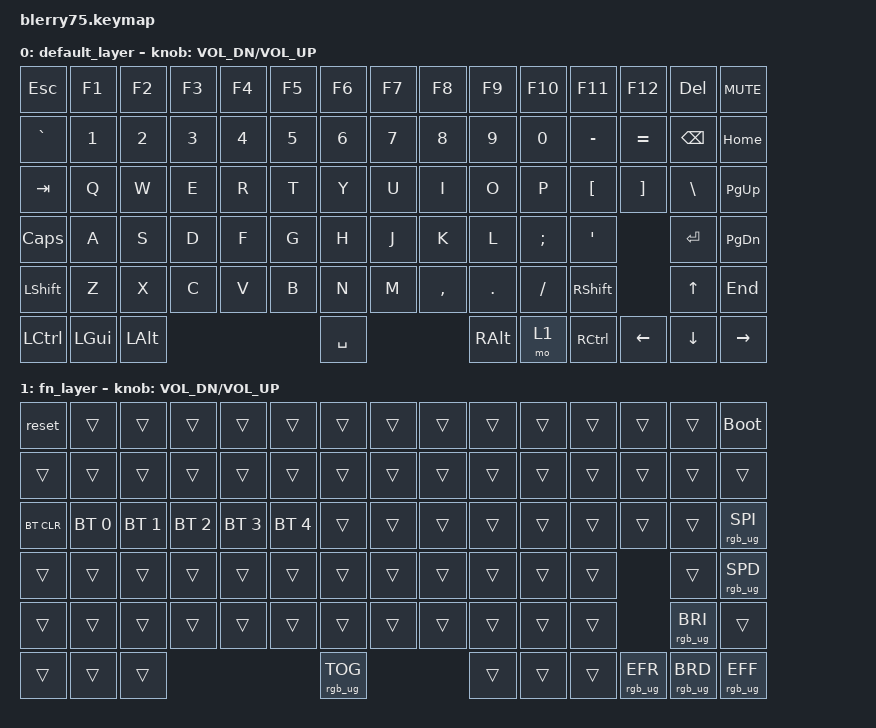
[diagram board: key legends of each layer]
#include <behaviors.dtsi>
#include <dt-bindings/zmk/keys.h>
#include <dt-bindings/zmk/bt.h>
#include <dt-bindings/zmk/outputs.h>
#include <dt-bindings/zmk/rgb.h>
#include <dt-bindings/zmk/ext_power.h>

/ {
	keymap {
		compatible = "zmk,keymap";

		default_layer {
// -----------------------------------------------------------------------------------------
//   | ESC   | F1    | F2    | F3    | F4    | F5    | F6    | F7    | F8    | F9    | F10   | F11   | F12   | DEL           | MUTE |
//   | GRAVE | 1     | 2     | 3     | 4     | 5     | 6     | 7     | 8     | 9     | 0     | -     | =     | BACKSPACE     | HOME |
//   | TAB   | Q     | W     | E     | R     | T     | Y     | U     | I     | O     | P     | [     | ]     | \             | PGUP |
//   | CAPS  | A     | S     | D     | F     | G     | H     | J     | K     | L     | ;     | '     |         ENTER         | PGDN |
//   | SHIFT | Z     | X     | C     | V     | B     | N     | M     | ,     | .     | /     |                SHIFT | UP     | END  |
//   | CTRL  | GUI   | ALT   |                 SPACE                                  | ALT  | MO(1) | CTRL  | LEFT | DOWN   | RIGHT|

			bindings = <
    &kp ESC          &kp F1           &kp F2        &kp F3        &kp F4        &kp F5           &kp F6           &kp F7           &kp F8           &kp F9           &kp F10          &kp F11          &kp F12          &kp DEL          &kp C_MUTE
	&kp GRAVE        &kp NUM_1        &kp NUM_2     &kp NUM_3     &kp NUM_4     &kp NUM_5        &kp NUM_6        &kp NUM_7        &kp NUM_8        &kp NUM_9        &kp NUM_0        &kp MINUS        &kp EQL          &kp BSPC         &kp HOME
    &kp TAB          &kp Q            &kp W         &kp E         &kp R         &kp T            &kp Y            &kp U            &kp I            &kp O            &kp P            &kp LBKT         &kp RBKT         &kp BSLH         &kp PG_UP
    &kp CAPS         &kp A            &kp S         &kp D         &kp F         &kp G            &kp H            &kp J            &kp K            &kp L            &kp SCLN         &kp QUOT                          &kp ENTER        &kp PG_DN
    &kp LSHFT        &kp Z            &kp X         &kp C         &kp V         &kp B            &kp N            &kp M            &kp CMMA         &kp DOT          &kp FSLH         &kp RSHFT                         &kp UP           &kp END
	&kp LCTRL        &kp LGUI         &kp LALT                                                   &kp SPACE                                          &kp RALT         &mo 1            &kp RCTRL        &kp LEFT         &kp DOWN         &kp RIGHT
			>;

			sensor-bindings = <&inc_dec_kp C_VOL_DN C_VOL_UP>;
		};

		fn_layer {
			bindings = <
	&reset          &trans           &trans         &trans       &trans         &trans           &trans           &trans           &trans           &trans           &trans          &trans            &trans           &trans           &bootloader
	&trans          &trans           &trans         &trans       &trans         &trans           &trans           &trans           &trans           &trans           &trans          &trans            &trans           &trans           &trans
	&bt BT_CLR      &bt BT_SEL 0     &bt BT_SEL 1   &bt BT_SEL 2 &bt BT_SEL 3   &bt BT_SEL 4     &trans           &trans           &trans           &trans           &trans          &trans            &trans           &trans           &rgb_ug RGB_SPI
	&trans          &trans           &trans         &trans       &trans         &trans           &trans           &trans           &trans           &trans           &trans          &trans                             &trans           &rgb_ug RGB_SPD
	&trans          &trans           &trans         &trans       &trans         &trans           &trans           &trans           &trans           &trans           &trans          &trans                             &rgb_ug RGB_BRI  &trans
	&trans          &trans           &trans                                                      &rgb_ug RGB_TOG                                    &trans           &trans          &trans            &rgb_ug RGB_EFR  &rgb_ug RGB_BRD  &rgb_ug RGB_EFF
			>;

			sensor-bindings = <&inc_dec_kp C_VOL_DN C_VOL_UP>;
		};
	};
};
